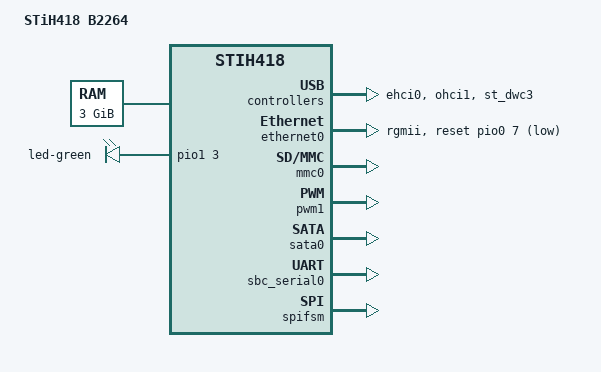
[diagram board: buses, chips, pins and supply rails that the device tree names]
// SPDX-License-Identifier: GPL-2.0-only
/*
 * Copyright (C) 2021 STMicroelectronics
 * Author: Alain Volmat <avolmat@me.com>
 */
/dts-v1/;
#include "stih418.dtsi"
#include <dt-bindings/gpio/gpio.h>
/ {
	model = "STiH418 B2264";
	compatible = "st,stih418-b2264", "st,stih418";

	chosen {
		stdout-path = &sbc_serial0;
	};

	memory@40000000 {
		device_type = "memory";
		reg = <0x40000000 0xc0000000>;
	};

	cpus {
		cpu@0 {
			operating-points-v2 = <&cpu_opp_table>;
			/* u-boot puts hpen in SBC dmem at 0xb8 offset */
			cpu-release-addr = <0x94100b8>;
		};
		cpu@1 {
			operating-points-v2 = <&cpu_opp_table>;
			/* u-boot puts hpen in SBC dmem at 0xb8 offset */
			cpu-release-addr = <0x94100b8>;
		};
		cpu@2 {
			operating-points-v2 = <&cpu_opp_table>;
			/* u-boot puts hpen in SBC dmem at 0xb8 offset */
			cpu-release-addr = <0x94100b8>;
		};
		cpu@3 {
			operating-points-v2 = <&cpu_opp_table>;
			/* u-boot puts hpen in SBC dmem at 0xb8 offset */
			cpu-release-addr = <0x94100b8>;
		};
	};

	cpu_opp_table: opp_table {
		compatible = "operating-points-v2";
		opp-shared;

		opp00 {
			opp-hz = /bits/ 64 <300000000>;
			opp-microvolt = <784000>;
		};
		opp01 {
			opp-hz = /bits/ 64 <500000000>;
			opp-microvolt = <784000>;
		};
		opp02 {
			opp-hz = /bits/ 64 <800000000>;
			opp-microvolt = <784000>;
		};
		opp03 {
			opp-hz = /bits/ 64 <1200000000>;
			opp-microvolt = <784000>;
		};
		opp04 {
			opp-hz = /bits/ 64 <1500000000>;
			opp-microvolt = <784000>;
		};
	};

	aliases {
		ttyAS0 = &sbc_serial0;
		ethernet0 = &ethernet0;
	};

	soc {
		leds {
			compatible = "gpio-leds";
			led-green {
				gpios = <&pio1 3 GPIO_ACTIVE_HIGH>;
				default-state = "off";
			};
		};

		pin-controller-sbc@961f080 {
			gmac1 {
				rgmii1-0 {
					st,pins {
						rxd0 = <&pio1 4 ALT1 IN DE_IO 300 CLK_A>;
						rxd1 = <&pio1 5 ALT1 IN DE_IO 300 CLK_A>;
						rxd2 = <&pio1 6 ALT1 IN DE_IO 300 CLK_A>;
						rxd3 = <&pio1 7 ALT1 IN DE_IO 300 CLK_A>;
						rxdv = <&pio2 0 ALT1 IN DE_IO 300 CLK_A>;
					};
				};
			};
		};

	};
};

&ehci0 {
	status = "okay";
};

&ethernet0 {
	phy-mode = "rgmii";
	pinctrl-0 = <&pinctrl_rgmii1 &pinctrl_rgmii1_mdio_1>;
	st,tx-retime-src = "clkgen";

	snps,reset-gpio = <&pio0 7 0>;
	snps,reset-active-low;
	snps,reset-delays-us = <0 10000 1000000>;

	status = "okay";
};

&miphy28lp_phy {
	phy_port0: port@9b22000 {
		st,sata-gen = <2>; /* SATA GEN3 */
		st,osc-rdy;
	};
};

&mmc0 {
	status = "okay";
};

&ohci1 {
	status = "okay";
};

&pwm1 {
	status = "okay";
};

&sata0 {
	status = "okay";
};

&sbc_serial0 {
	status = "okay";
};

&spifsm {
	status = "okay";
};

&st_dwc3 {
	status = "okay";
};
